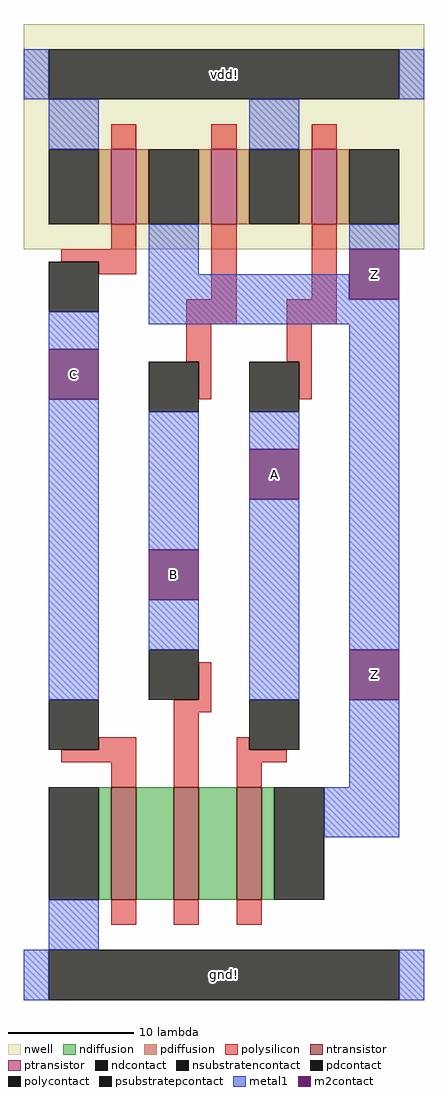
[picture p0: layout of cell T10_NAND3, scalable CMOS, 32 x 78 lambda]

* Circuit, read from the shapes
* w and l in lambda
.subckt T10_NAND3 A B C Z gnd! vdd!
M1 n1 C gnd! gnd! nfet w=9 l=2
M2 n2 B n1 gnd! nfet w=9 l=2
M3 Z A n2 gnd! nfet w=9 l=2
M4 Z C vdd! vdd! pfet w=6 l=2
M5 vdd! B Z vdd! pfet w=6 l=2
M6 Z A vdd! vdd! pfet w=6 l=2
.ends

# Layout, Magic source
magic
tech scmos
<< nwell >>
rect 0 62 32 80
<< polysilicon >>
rect 7 70 9 72
rect 15 70 17 72
rect 23 70 25 72
rect 7 62 9 64
rect 3 61 9 62
rect 6 60 9 61
rect 15 58 17 64
rect 23 58 25 64
rect 13 56 17 58
rect 21 56 25 58
rect 13 53 15 56
rect 21 53 23 56
rect 14 50 15 53
rect 22 50 23 53
rect 14 26 15 29
rect 12 25 15 26
rect 6 22 9 23
rect 3 21 9 22
rect 7 19 9 21
rect 12 19 14 25
rect 17 22 18 23
rect 17 21 21 22
rect 17 19 19 21
rect 7 8 9 10
rect 12 8 14 10
rect 17 8 19 10
<< ndiffusion >>
rect 6 10 7 19
rect 9 10 12 19
rect 14 10 17 19
rect 19 10 20 19
<< pdiffusion >>
rect 6 64 7 70
rect 9 64 10 70
rect 14 64 15 70
rect 17 64 18 70
rect 22 64 23 70
rect 25 64 26 70
<< metal1 >>
rect 0 74 2 78
rect 30 74 32 78
rect 2 70 6 74
rect 18 70 22 74
rect 2 54 6 57
rect 10 60 14 64
rect 26 62 30 64
rect 10 58 26 60
rect 10 56 30 58
rect 2 26 6 50
rect 10 38 14 49
rect 10 30 14 34
rect 18 46 22 49
rect 18 26 22 42
rect 26 30 30 56
rect 26 19 30 26
rect 24 15 30 19
rect 2 6 6 10
rect 0 2 2 6
rect 30 2 32 6
<< ntransistor >>
rect 7 10 9 19
rect 12 10 14 19
rect 17 10 19 19
<< ptransistor >>
rect 7 64 9 70
rect 15 64 17 70
rect 23 64 25 70
<< polycontact >>
rect 2 57 6 61
rect 10 49 14 53
rect 18 49 22 53
rect 10 26 14 30
rect 2 22 6 26
rect 18 22 22 26
<< ndcontact >>
rect 2 10 6 19
rect 20 10 24 19
<< pdcontact >>
rect 2 64 6 70
rect 10 64 14 70
rect 18 64 22 70
rect 26 64 30 70
<< m2contact >>
rect 26 58 30 62
rect 2 50 6 54
rect 10 34 14 38
rect 18 42 22 46
rect 26 26 30 30
<< psubstratepcontact >>
rect 2 2 30 6
<< nsubstratencontact >>
rect 2 74 30 78
<< labels >>
rlabel psubstratepcontact 2 2 30 6 1 gnd!
rlabel nsubstratencontact 2 74 30 78 5 vdd!
rlabel m2contact 18 42 22 46 1 A
rlabel m2contact 2 50 6 54 3 C
rlabel m2contact 10 34 14 38 1 B
rlabel m2contact 26 26 30 30 7 Z
rlabel m2contact 26 58 30 62 7 Z
<< end >>
